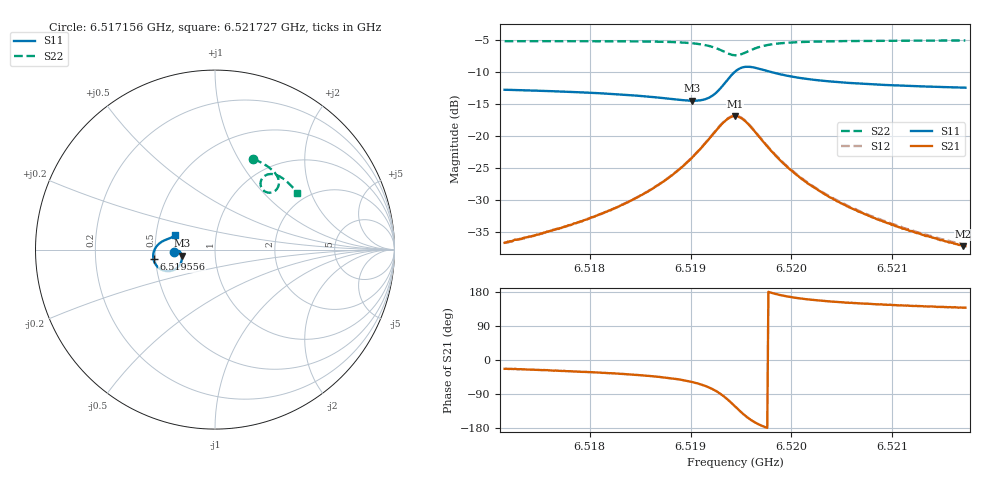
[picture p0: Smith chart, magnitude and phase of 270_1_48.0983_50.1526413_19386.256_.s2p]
#  HZ  S  RI  R  50.00
! Rohde & Schwarz Vector Network Analyzer
! Rohde-Schwarz,ZNB20-2Port,1311601062101988,3.16
! Created: UTC 12/23/2023, 4:01:39 AM
! freq[Hz]  re:S11  im:S11  re:S21  im:S21  re:S12  im:S12  re:S22  im:S22
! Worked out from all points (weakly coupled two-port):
!   401 points, 6.517156 GHz to 6.521727 GHz, reference 50 ohm
!   highest |S21| = -16.91 dB at 6.519441 GHz (marker M1); lowest = -37.2 dB at 6.521704 GHz (marker M2)
!   lowest |S11| = -14.5 dB at 6.519019 GHz (marker M3), VSWR 1.46, Z = 34.3 - j2.34 ohm
!   |S11| at or under -10 dB: start of sweep to 6.519439 GHz; 6.519795 GHz to end of sweep
!   |S22| runs from -7.4 to -5.1 dB; largest |S21 - S12| = 0.0042
!   S11 on the Smith chart (normalised r, x): 6.517156 GHz: 0.63, -0.02; 6.519556 GHz: 0.49, -0.06; 6.521727 GHz: 0.63, +0.11
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6.5171561e9  -0.2291 -0.0138  0.0135 -0.00582  0.0137 -0.00534  0.2144 0.5051
6.5175332e9  -0.2247 -0.00852  0.0156 -0.00791  0.0158 -0.00735  0.2419 0.4927
6.5179217e9  -0.2189 -0.00428  0.0185 -0.0112  0.019 -0.0106  0.2708 0.4775
6.5183559e9  -0.2096 -0.00302  0.0238 -0.0181  0.0244 -0.0175  0.3034 0.456
6.5186873e9  -0.1991 -0.00832  0.0299 -0.0294  0.0308 -0.0286  0.3292 0.4331
6.5188587e9  -0.1921 -0.0169  0.0336 -0.0404  0.035 -0.0395  0.3424 0.4161
6.5190186e9  -0.1856 -0.0329  0.0359 -0.0582  0.0378 -0.0574  0.353 0.3937
6.5191215e9  -0.1844 -0.0517  0.0337 -0.0761  0.0362 -0.0756  0.3562 0.3734
6.5192129e9  -0.1907 -0.0757  0.0243 -0.0982  0.0274 -0.0982  0.3518 0.3503
6.51935e9  -0.237 -0.1166  -0.0231 -0.1305  -0.0196 -0.1323  0.3156 0.3185
6.5194414e9  -0.297 -0.1124  -0.0764 -0.1206  -0.0738 -0.1237  0.2739 0.3266
6.5194985e9  -0.3278 -0.0871  -0.1011 -0.095  -0.0994 -0.0986  0.257 0.3486
6.5195557e9  -0.3426 -0.0537  -0.1105 -0.0644  -0.1096 -0.0682  0.254 0.3739
6.5196585e9  -0.3382 -0.0042  -0.1011 -0.0225  -0.1015 -0.0255  0.2709 0.4058
6.5197842e9  -0.3166 0.0283  -0.0792 0.00169  -0.0801 -0.000523  0.2993 0.42
6.5199784e9  -0.2893 0.0478  -0.0542 0.0127  -0.0552 0.0113  0.3328 0.4187
6.520207e9  -0.2697 0.0564  -0.0378 0.0147  -0.0387 0.0138  0.3602 0.4081
6.5205726e9  -0.2516 0.0633  -0.0243 0.0136  -0.0252 0.0129  0.391 0.387
6.5209725e9  -0.2397 0.069  -0.0171 0.0118  -0.0177 0.0115  0.4172 0.363
6.5213153e9  -0.2321 0.0737  -0.0132 0.0105  -0.0139 0.0104  0.4363 0.3423
6.5217038e9  -0.2252 0.0789  -0.0103 0.00921  -0.0108 0.00931  0.4559 0.3181
6.5217267e9  -0.2246 0.0792  -0.0103 0.00928  -0.0107 0.0092  0.457 0.3168
